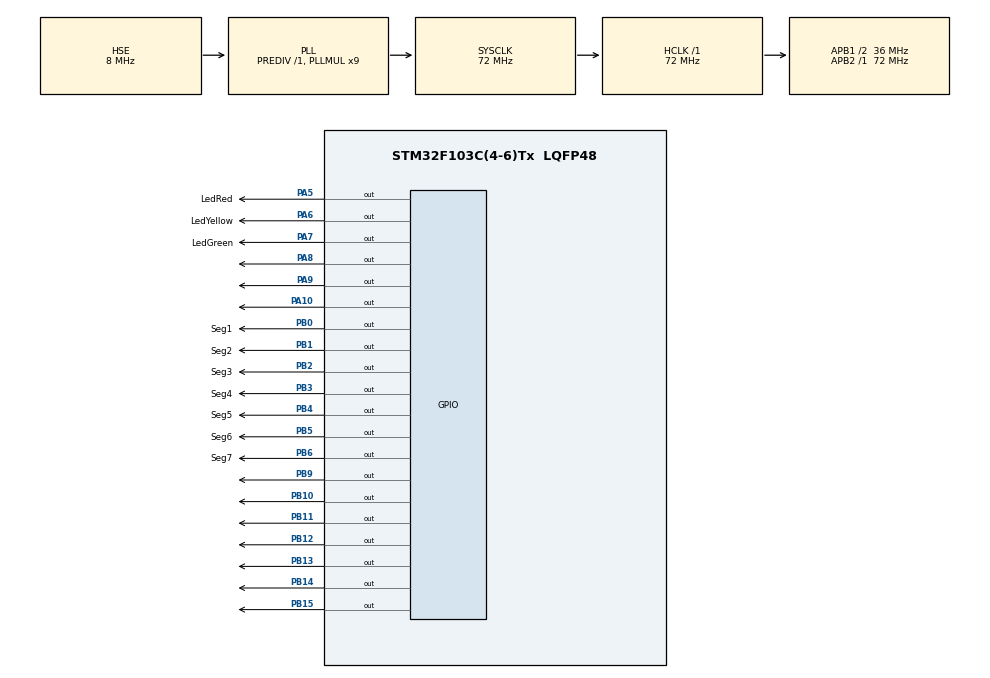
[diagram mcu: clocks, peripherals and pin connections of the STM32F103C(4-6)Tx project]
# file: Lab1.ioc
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Mcu.Family=STM32F1
Mcu.Name=STM32F103C(4-6)Tx
Mcu.Package=LQFP48
NVIC.PriorityGroup=NVIC_PRIORITYGROUP_4
PA10.Signal=GPIO_Output
PA13.Mode=Serial_Wire
PA13.Signal=SYS_JTMS-SWDIO
PA14.Mode=Serial_Wire
PA14.Signal=SYS_JTCK-SWCLK
PA5.GPIO_Label=LedRed
PA5.Signal=GPIO_Output
PA6.GPIO_Label=LedYellow
PA6.Signal=GPIO_Output
PA7.GPIO_Label=LedGreen
PA7.Signal=GPIO_Output
PA8.Signal=GPIO_Output
PA9.Signal=GPIO_Output
PB0.GPIO_Label=Seg1
PB0.Signal=GPIO_Output
PB1.GPIO_Label=Seg2
PB1.Signal=GPIO_Output
PB10.Signal=GPIO_Output
PB11.Signal=GPIO_Output
PB12.Signal=GPIO_Output
PB13.Signal=GPIO_Output
PB14.Signal=GPIO_Output
PB15.Signal=GPIO_Output
PB2.GPIO_Label=Seg3
PB2.Signal=GPIO_Output
PB3.GPIO_Label=Seg4
PB3.Signal=GPIO_Output
PB4.GPIO_Label=Seg5
PB4.Signal=GPIO_Output
PB5.GPIO_Label=Seg6
PB5.Signal=GPIO_Output
PB6.GPIO_Label=Seg7
PB6.Signal=GPIO_Output
PB9.Signal=GPIO_Output
PD0-OSC_IN.Mode=HSE-External-Oscillator
PD0-OSC_IN.Signal=RCC_OSC_IN
PD1-OSC_OUT.Mode=HSE-External-Oscillator
PD1-OSC_OUT.Signal=RCC_OSC_OUT
ProjectManager.HeapSize=0x200
ProjectManager.StackSize=0x400
ProjectManager.TargetToolchain=Makefile
RCC.AHBFreq_Value=72000000
RCC.APB1CLKDivider=RCC_HCLK_DIV2
RCC.APB1Freq_Value=36000000
RCC.APB1TimFreq_Value=72000000
RCC.APB2Freq_Value=72000000
RCC.APB2TimFreq_Value=72000000
RCC.HCLKFreq_Value=72000000
RCC.PLLMUL=RCC_PLL_MUL9
RCC.PLLSourceVirtual=RCC_PLLSOURCE_HSE
RCC.SYSCLKFreq_VALUE=72000000
RCC.SYSCLKSource=RCC_SYSCLKSOURCE_PLLCLK
RCC.USBFreq_Value=72000000
board=custom

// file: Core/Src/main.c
/* USER CODE BEGIN Header */
/**
  ******************************************************************************
  * @file           : main.c
  * @brief          : Main program body
  ******************************************************************************
  * @attention
  *
  * Copyright (c) 2023 STMicroelectronics.
  * All rights reserved.
  *
  * This software is licensed under terms that can be found in the LICENSE file
  * in the root directory of this software component.
  * If no LICENSE file comes with this software, it is provided AS-IS.
  *
  ******************************************************************************
  */
/* USER CODE END Header */
#include "main.h"

/* USER CODE BEGIN PTD */
typedef enum
{
  Red1_Green2,
  Red1_Yellow2,
  Green1_Red2,
  Yellow1_Red2
}TrafficLightColor;
/* USER CODE END PTD */

/* USER CODE BEGIN PV */
uint8_t state;
uint8_t count;
/* USER CODE END PV */

void SystemClock_Config(void);
static void MX_GPIO_Init(void);

/* USER CODE BEGIN 0 */
void SwitchLed(uint32_t time)
{
  state = 1 - state;

  HAL_GPIO_WritePin(LedRed_GPIO_Port, LedRed_Pin, state);
  HAL_GPIO_WritePin(LedYellow_GPIO_Port, LedYellow_Pin, 1 - state);
  HAL_Delay(time);
}

void TurnOffLight()
{
  state = 1;
  HAL_GPIO_WritePin(LedRed_GPIO_Port, LedRed_Pin, state);
  HAL_GPIO_WritePin(LedYellow_GPIO_Port, LedYellow_Pin, state);
  HAL_GPIO_WritePin(LedGreen_GPIO_Port, LedGreen_Pin, state);
  HAL_GPIO_WritePin(GPIOA, GPIO_PIN_8, state);
  HAL_GPIO_WritePin(GPIOA, GPIO_PIN_9, state);
  HAL_GPIO_WritePin(GPIOA, GPIO_PIN_10, state);
}

void DisplayNum(uint8_t a, uint8_t b, uint8_t c, uint8_t d, uint8_t e, uint8_t f, uint8_t g )
{
    HAL_GPIO_WritePin(Seg1_GPIO_Port, Seg1_Pin, a);
    HAL_GPIO_WritePin(Seg2_GPIO_Port, Seg2_Pin, b);
    HAL_GPIO_WritePin(Seg3_GPIO_Port, Seg3_Pin, c);
    HAL_GPIO_WritePin(Seg4_GPIO_Port, Seg4_Pin, d);
    HAL_GPIO_WritePin(Seg5_GPIO_Port, Seg5_Pin, e);
    HAL_GPIO_WritePin(Seg6_GPIO_Port, Seg6_Pin, f);
    HAL_GPIO_WritePin(Seg7_GPIO_Port, Seg7_Pin, g);
}

void display7SEG(int num)
{
  switch (num)
  {
  case 0:
    DisplayNum(0, 0, 0, 0, 0, 0, 1);
    break;
  case 1:
    DisplayNum(1, 0, 0, 1, 1, 1, 1);
    break;
  case 2:
    DisplayNum(0, 0, 1, 0, 0, 1, 0);
    break;
  case 3:
    DisplayNum(0, 0, 0, 0, 1, 1, 0);
    break;
  case 4:
    DisplayNum(1, 0, 0, 1, 1, 0, 0);
    break;
  case 5:
    DisplayNum(0, 1, 0, 0, 1, 0, 0);
    break;
  case 6:
    DisplayNum(0, 1, 0, 0, 0, 0, 0);
    break;
  case 7:
    DisplayNum(0, 0, 0, 1, 1, 1, 1);
    break;
  case 8:
    DisplayNum(0, 0, 0, 0, 0, 0, 0);
    break;
  case 9:
    DisplayNum(0, 0, 0, 0, 1, 0, 0);
    break;

  default:
    break;
  }
}

void SimulateTrafficLight()
{
  TurnOffLight();
  HAL_GPIO_WritePin(LedRed_GPIO_Port, LedRed_Pin, 0);
  HAL_Delay(5000);

  TurnOffLight();
  HAL_GPIO_WritePin(LedYellow_GPIO_Port, LedYellow_Pin, 0);
  HAL_Delay(2000);

  TurnOffLight();
  HAL_GPIO_WritePin(LedGreen_GPIO_Port, LedGreen_Pin, 0);
  HAL_Delay(3000);
}

void ChangeLight(uint8_t light)
{

  switch (light)
  {
  case Red1_Green2:
    TurnOffLight();
    HAL_GPIO_WritePin(LedRed_GPIO_Port, LedRed_Pin, 0);
    HAL_GPIO_WritePin(GPIOA, GPIO_PIN_10, 0);
    break;
  case Red1_Yellow2:
    TurnOffLight();
    HAL_GPIO_WritePin(LedRed_GPIO_Port, LedRed_Pin, 0);
    HAL_GPIO_WritePin(GPIOA, GPIO_PIN_9, 0);
    break;
  case Green1_Red2:
    TurnOffLight();
    HAL_GPIO_WritePin(LedGreen_GPIO_Port, LedGreen_Pin, 0);
    HAL_GPIO_WritePin(GPIOA, GPIO_PIN_8, 0);
    break;
  case Yellow1_Red2:
    TurnOffLight();
    HAL_GPIO_WritePin(LedYellow_GPIO_Port, LedYellow_Pin, 0);
    HAL_GPIO_WritePin(GPIOA, GPIO_PIN_8, 0);
    break;

  default:
    break;
  }
}

/* USER CODE END 0 */

int main(void)
{

  /* MCU Configuration--------------------------------------------------------*/

  /* Reset of all peripherals, Initializes the Flash interface and the Systick. */
  HAL_Init();

  /* Configure the system clock */
  SystemClock_Config();

  /* Initialize all configured peripherals */
  MX_GPIO_Init();
  /* USER CODE BEGIN 2 */
  uint8_t counter = 0;
  TrafficLightColor lightColor = 0;
  /* USER CODE END 2 */

  /* Infinite loop */
  while (1)
  {

    /* USER CODE BEGIN 3 */

    if(lightColor >= 4) lightColor = 0;

    if(!counter)
    {
      switch (lightColor)
      {
      case Red1_Green2:
        counter = 5;
        break;
      case Red1_Yellow2:
        counter = 2;
        break;
      case Green1_Red2:
        counter = 6;
        break;

      case Yellow1_Red2:
        counter = 2;
        break;

      default:
        break;
      }
      ChangeLight(lightColor++);
    }

    display7SEG(counter--);

    HAL_Delay(100);
  }
  /* USER CODE END 3 */
}

void SystemClock_Config(void)
{
  RCC_OscInitTypeDef RCC_OscInitStruct = {0};
  RCC_ClkInitTypeDef RCC_ClkInitStruct = {0};

  /** Initializes the RCC Oscillators according to the specified parameters
  * in the RCC_OscInitTypeDef structure.
  */
  RCC_OscInitStruct.OscillatorType = RCC_OSCILLATORTYPE_HSE;
  RCC_OscInitStruct.HSEState = RCC_HSE_ON;
  RCC_OscInitStruct.HSEPredivValue = RCC_HSE_PREDIV_DIV1;
  RCC_OscInitStruct.HSIState = RCC_HSI_ON;
  RCC_OscInitStruct.PLL.PLLState = RCC_PLL_ON;
  RCC_OscInitStruct.PLL.PLLSource = RCC_PLLSOURCE_HSE;
  RCC_OscInitStruct.PLL.PLLMUL = RCC_PLL_MUL9;
  if (HAL_RCC_OscConfig(&RCC_OscInitStruct) != HAL_OK)
  {
    Error_Handler();
  }

  /** Initializes the CPU, AHB and APB buses clocks
  */
  RCC_ClkInitStruct.ClockType = RCC_CLOCKTYPE_HCLK|RCC_CLOCKTYPE_SYSCLK
                              |RCC_CLOCKTYPE_PCLK1|RCC_CLOCKTYPE_PCLK2;
  RCC_ClkInitStruct.SYSCLKSource = RCC_SYSCLKSOURCE_PLLCLK;
  RCC_ClkInitStruct.AHBCLKDivider = RCC_SYSCLK_DIV1;
  RCC_ClkInitStruct.APB1CLKDivider = RCC_HCLK_DIV2;
  RCC_ClkInitStruct.APB2CLKDivider = RCC_HCLK_DIV1;

  if (HAL_RCC_ClockConfig(&RCC_ClkInitStruct, FLASH_LATENCY_2) != HAL_OK)
  {
    Error_Handler();
  }
}

static void MX_GPIO_Init(void)
{
  GPIO_InitTypeDef GPIO_InitStruct = {0};

  /* GPIO Ports Clock Enable */
  __HAL_RCC_GPIOD_CLK_ENABLE();
  __HAL_RCC_GPIOA_CLK_ENABLE();
  __HAL_RCC_GPIOB_CLK_ENABLE();

  /*Configure GPIO pin Output Level */
  HAL_GPIO_WritePin(GPIOA, LedRed_Pin|LedYellow_Pin|LedGreen_Pin|GPIO_PIN_8
                          |GPIO_PIN_9|GPIO_PIN_10, GPIO_PIN_RESET);

  /*Configure GPIO pin Output Level */
  HAL_GPIO_WritePin(GPIOB, Seg1_Pin|Seg2_Pin|Seg3_Pin|GPIO_PIN_10
                          |GPIO_PIN_11|GPIO_PIN_12|GPIO_PIN_13|GPIO_PIN_14
                          |GPIO_PIN_15|Seg4_Pin|Seg5_Pin|Seg6_Pin
                          |Seg7_Pin|GPIO_PIN_9, GPIO_PIN_RESET);

  /*Configure GPIO pins : LedRed_Pin LedYellow_Pin LedGreen_Pin PA8
                           PA9 PA10 */
  GPIO_InitStruct.Pin = LedRed_Pin|LedYellow_Pin|LedGreen_Pin|GPIO_PIN_8
                          |GPIO_PIN_9|GPIO_PIN_10;
  GPIO_InitStruct.Mode = GPIO_MODE_OUTPUT_PP;
  GPIO_InitStruct.Pull = GPIO_NOPULL;
  GPIO_InitStruct.Speed = GPIO_SPEED_FREQ_LOW;
  HAL_GPIO_Init(GPIOA, &GPIO_InitStruct);

  /*Configure GPIO pins : Seg1_Pin Seg2_Pin Seg3_Pin PB10
                           PB11 PB12 PB13 PB14
                           PB15 Seg4_Pin Seg5_Pin Seg6_Pin
                           Seg7_Pin PB9 */
  GPIO_InitStruct.Pin = Seg1_Pin|Seg2_Pin|Seg3_Pin|GPIO_PIN_10
                          |GPIO_PIN_11|GPIO_PIN_12|GPIO_PIN_13|GPIO_PIN_14
                          |GPIO_PIN_15|Seg4_Pin|Seg5_Pin|Seg6_Pin
                          |Seg7_Pin|GPIO_PIN_9;
  GPIO_InitStruct.Mode = GPIO_MODE_OUTPUT_PP;
  GPIO_InitStruct.Pull = GPIO_NOPULL;
  GPIO_InitStruct.Speed = GPIO_SPEED_FREQ_LOW;
  HAL_GPIO_Init(GPIOB, &GPIO_InitStruct);

}

void Error_Handler(void)
{
  __disable_irq();
  while (1)
  {
  }
}
